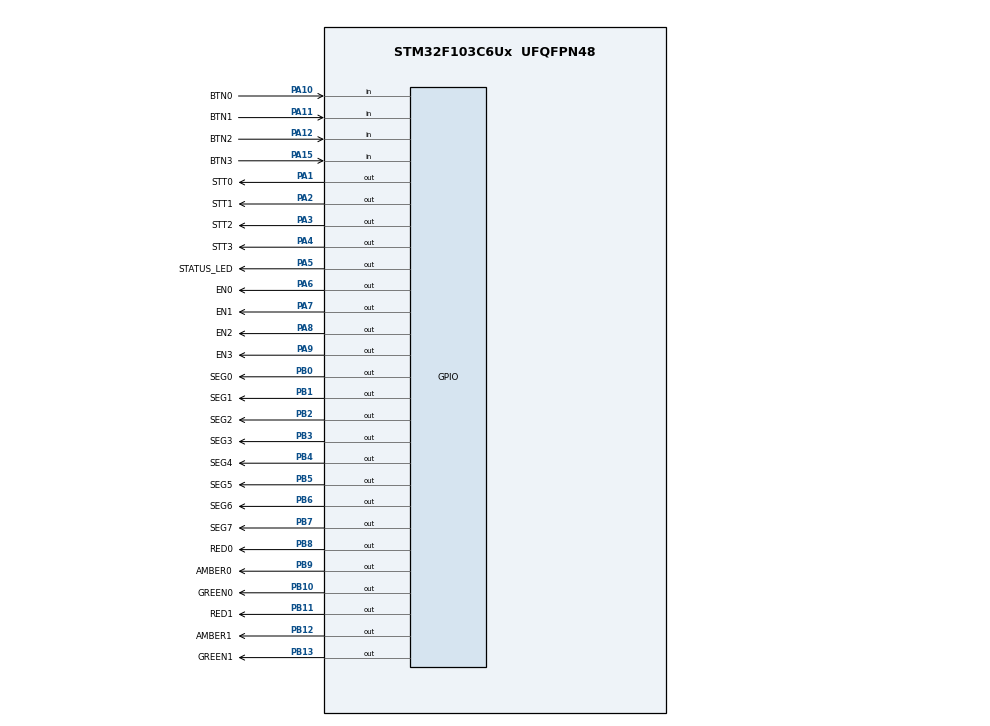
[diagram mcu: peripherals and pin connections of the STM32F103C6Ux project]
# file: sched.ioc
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Mcu.Family=STM32F1
Mcu.Name=STM32F103C6Ux
Mcu.Package=UFQFPN48
NVIC.PriorityGroup=NVIC_PRIORITYGROUP_4
NVIC.TIM2_IRQn=true\:0\:0\:false\:false\:true\:true\:true\:true
PA1.GPIO_Label=STT0
PA1.Signal=GPIO_Output
PA10.GPIO_Label=BTN0
PA10.Signal=GPIO_Input
PA11.GPIO_Label=BTN1
PA11.Signal=GPIO_Input
PA12.GPIO_Label=BTN2
PA12.Signal=GPIO_Input
PA15.GPIO_Label=BTN3
PA15.Signal=GPIO_Input
PA2.GPIO_Label=STT1
PA2.Signal=GPIO_Output
PA3.GPIO_Label=STT2
PA3.Signal=GPIO_Output
PA4.GPIO_Label=STT3
PA4.Signal=GPIO_Output
PA5.GPIO_Label=STATUS_LED
PA5.Signal=GPIO_Output
PA6.GPIO_Label=EN0
PA6.Signal=GPIO_Output
PA7.GPIO_Label=EN1
PA7.Signal=GPIO_Output
PA8.GPIO_Label=EN2
PA8.Signal=GPIO_Output
PA9.GPIO_Label=EN3
PA9.Signal=GPIO_Output
PB0.GPIO_Label=SEG0
PB0.Signal=GPIO_Output
PB1.GPIO_Label=SEG1
PB1.Signal=GPIO_Output
PB10.GPIO_Label=GREEN0
PB10.Signal=GPIO_Output
PB11.GPIO_Label=RED1
PB11.Signal=GPIO_Output
PB12.GPIO_Label=AMBER1
PB12.Signal=GPIO_Output
PB13.GPIO_Label=GREEN1
PB13.Signal=GPIO_Output
PB2.GPIO_Label=SEG2
PB2.Signal=GPIO_Output
PB3.GPIO_Label=SEG3
PB3.Signal=GPIO_Output
PB4.GPIO_Label=SEG4
PB4.Signal=GPIO_Output
PB5.GPIO_Label=SEG5
PB5.Signal=GPIO_Output
PB6.GPIO_Label=SEG6
PB6.Signal=GPIO_Output
PB7.GPIO_Label=SEG7
PB7.Signal=GPIO_Output
PB8.GPIO_Label=RED0
PB8.Signal=GPIO_Output
PB9.GPIO_Label=AMBER0
PB9.Signal=GPIO_Output
ProjectManager.HeapSize=0x200
ProjectManager.StackSize=0x400
ProjectManager.TargetToolchain=STM32CubeIDE
RCC.APB1Freq_Value=8000000
RCC.APB2Freq_Value=8000000
TIM2.Period=99
TIM2.Prescaler=79
VP_SYS_VS_ND.Mode=No_Debug
VP_TIM2_VS_ClockSourceINT.Mode=Internal
board=custom

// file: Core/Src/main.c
/* USER CODE BEGIN Header */
/**
  ******************************************************************************
  * @file           : main.c
  * @brief          : Main program body
  ******************************************************************************
  * @attention
  *
  * Copyright (c) 2025 STMicroelectronics.
  * All rights reserved.
  *
  * This software is licensed under terms that can be found in the LICENSE file
  * in the root directory of this software component.
  * If no LICENSE file comes with this software, it is provided AS-IS.
  *
  ******************************************************************************
  */
/* USER CODE END Header */
#include "main.h"
#include "tim.h"
#include "gpio.h"

/* USER CODE BEGIN Includes */
#include "inc_modules/scheduler.h"
#include "inc_modules/task.h"
/* USER CODE END Includes */

void SystemClock_Config(void);
/* USER CODE BEGIN PFP */
void blinkSTT0();
void blinkSTT1();
void blinkSTT2();
void blinkSTT3();
/* USER CODE END PFP */

int main(void)
{

  /* MCU Configuration--------------------------------------------------------*/

  /* Reset of all peripherals, Initializes the Flash interface and the Systick. */
  HAL_Init();

  /* Configure the system clock */
  SystemClock_Config();

  /* Initialize all configured peripherals */
  MX_GPIO_Init();
  MX_TIM2_Init();
  /* USER CODE BEGIN 2 */
  SCH_Init();
  //SCH_Add_Task(task_display_7SEG, 0, 10);
  SCH_Add_Task(task_main_fsm, 1, 10);
  SCH_Add_Task(task_status_led, 0, 1000);

  /* USER CODE END 2 */

  /* Infinite loop */
  /* USER CODE BEGIN WHILE */
  while (1)
  {
	  SCH_Dispatch();
    /* USER CODE END WHILE */

  }
}

void SystemClock_Config(void)
{
  RCC_OscInitTypeDef RCC_OscInitStruct = {0};
  RCC_ClkInitTypeDef RCC_ClkInitStruct = {0};

  /** Initializes the RCC Oscillators according to the specified parameters
  * in the RCC_OscInitTypeDef structure.
  */
  RCC_OscInitStruct.OscillatorType = RCC_OSCILLATORTYPE_HSI;
  RCC_OscInitStruct.HSIState = RCC_HSI_ON;
  RCC_OscInitStruct.HSICalibrationValue = RCC_HSICALIBRATION_DEFAULT;
  RCC_OscInitStruct.PLL.PLLState = RCC_PLL_NONE;
  if (HAL_RCC_OscConfig(&RCC_OscInitStruct) != HAL_OK)
  {
    Error_Handler();
  }

  /** Initializes the CPU, AHB and APB buses clocks
  */
  RCC_ClkInitStruct.ClockType = RCC_CLOCKTYPE_HCLK|RCC_CLOCKTYPE_SYSCLK
                              |RCC_CLOCKTYPE_PCLK1|RCC_CLOCKTYPE_PCLK2;
  RCC_ClkInitStruct.SYSCLKSource = RCC_SYSCLKSOURCE_HSI;
  RCC_ClkInitStruct.AHBCLKDivider = RCC_SYSCLK_DIV1;
  RCC_ClkInitStruct.APB1CLKDivider = RCC_HCLK_DIV1;
  RCC_ClkInitStruct.APB2CLKDivider = RCC_HCLK_DIV1;

  if (HAL_RCC_ClockConfig(&RCC_ClkInitStruct, FLASH_LATENCY_0) != HAL_OK)
  {
    Error_Handler();
  }
}

/* USER CODE BEGIN 4 */
void blinkSTT0()
{
	HAL_GPIO_TogglePin(STT0_GPIO_Port, STT0_Pin);
}
void blinkSTT1()
{
	HAL_GPIO_TogglePin(STT1_GPIO_Port, STT1_Pin);
}
void blinkSTT2()
{
	HAL_GPIO_TogglePin(STT2_GPIO_Port, STT2_Pin);
}
void blinkSTT3()
{
	HAL_GPIO_TogglePin(STT3_GPIO_Port, STT3_Pin);
}
/* USER CODE END 4 */

void Error_Handler(void)
{
  __disable_irq();
  while (1)
  {
  }
}
